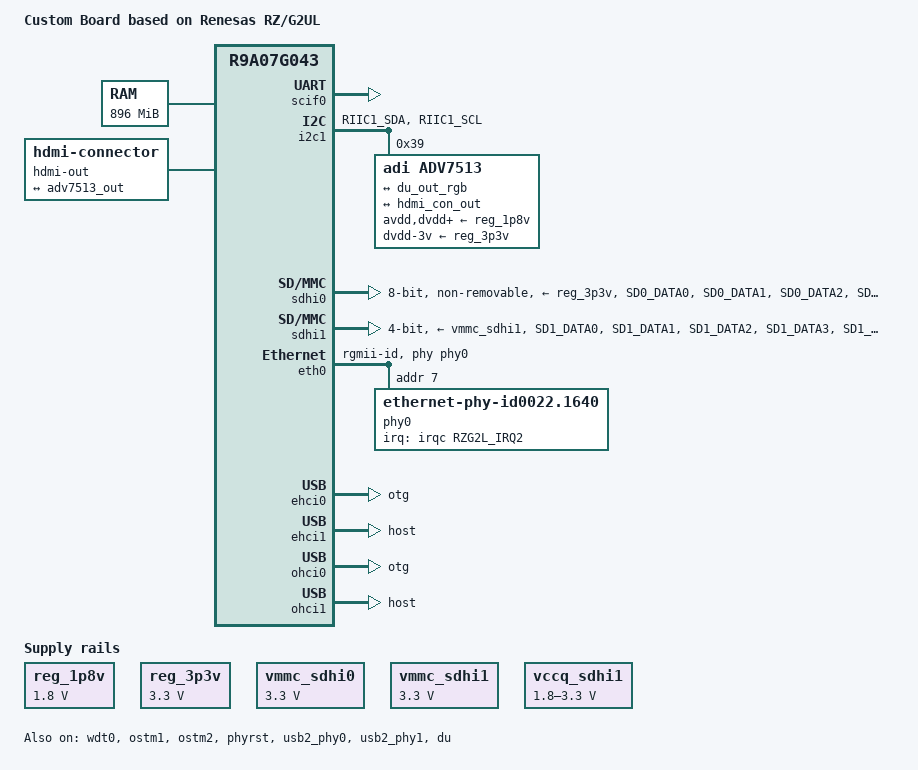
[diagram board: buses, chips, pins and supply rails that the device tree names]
/dts-v1/;

#include "r9a07g043u.dtsi"
#include <dt-bindings/gpio/gpio.h>
#include <dt-bindings/pinctrl/rzg2l-pinctrl.h>
#include <dt-bindings/interrupt-controller/arm-gic.h>
#include <dt-bindings/interrupt-controller/irqc-rzg2l.h>

/ {
	/* Please modify the 'model' and 'compatible' for your board. However, you must keep "renesas,r9a07g043" because some drivers reference this string */
	model = "Custom Board based on Renesas RZ/G2UL";
	compatible = "custom,rzg2lc-board", "renesas,r9a07g043u11", "renesas,r9a07g043";

	/* Aliases */
	aliases {
		serial0 = &scif0;  /* force SCIF0 to /dev/ttySC0 */
		ethernet0 = &eth0; /* Maps ethernet0 to primary Ethernet controller */
		mmc0 = &sdhi0;     /* eMMC, force SDHI0 as /dev/mmcblk0 */
		mmc1 = &sdhi1;     /* SD card, force SDHI1 as /dev/mmcblk1 */
		i2c1 = &i2c1;      /* Maps i2c1 to I2C1 controller */ 
	};

	/* Chosen Node for Console */
	chosen {
		bootargs = "ignore_loglevel";
		stdout-path = "serial0:115200n8";
	};

	/* Memory Node */
	memory@48000000 {
		device_type = "memory";
		/* first 128MB is reserved for secure area. */
		reg = <0x0 0x48000000 0x0 0x38000000>;
	};

	/* Reserved memory regions */
	reserved-memory {
		#address-cells = <2>;
		#size-cells = <2>;
		ranges;

		/* CMA for DMA allocations (cameras, display, USB, etc.) */
		global_cma: linux,cma@58000000 {
			compatible = "shared-dma-pool";
			linux,cma-default;
			reusable;
			reg = <0x0 0x58000000 0x0 0x10000000>;  /* 256MB CMA */
		};
	};

    /* HDMI connector description */
	hdmi-out {
		compatible = "hdmi-connector";
		type = "d";

		port {
			hdmi_con_out: endpoint {
				remote-endpoint = <&adv7513_out>;
			};
		};
	};

	/* Voltage Regulators */
	reg_1p8v: regulator-1p8v {
		compatible = "regulator-fixed";
		regulator-name = "fixed-1.8V";
		regulator-min-microvolt = <1800000>;
		regulator-max-microvolt = <1800000>;
		regulator-boot-on;
		regulator-always-on;
	};

	reg_3p3v: regulator-3p3v {
		compatible = "regulator-fixed";
		regulator-name = "fixed-3.3V";
		regulator-min-microvolt = <3300000>;
		regulator-max-microvolt = <3300000>;
		regulator-boot-on;
		regulator-always-on;
	};

	/* SDHI0 voltage regulators */
	vmmc_sdhi0: regulator-vcc-sdhi0 {
		compatible = "regulator-fixed";
		regulator-name = "SDHI0 Vmmc";
		regulator-min-microvolt = <3300000>;
		regulator-max-microvolt = <3300000>;
		regulator-boot-on;
		/* Optional: GPIO control for power switching */
		/* gpio = <&pinctrl RZG2L_GPIO(0, 3) GPIO_ACTIVE_HIGH>; */
		/* enable-active-high; */
	};

	/* SDHI1 voltage regulators */
	vmmc_sdhi1: regulator-vcc-sdhi1 {
		compatible = "regulator-fixed";
		regulator-name = "SDHI1 Vmmc";
		regulator-min-microvolt = <3300000>;
		regulator-max-microvolt = <3300000>;
	};

	vccq_sdhi1: regulator-vccq-sdhi1 {
		compatible = "regulator-gpio";
		regulator-name = "SDHI1 VccQ";
		regulator-min-microvolt = <1800000>;
		regulator-max-microvolt = <3300000>;
		gpios = <&pinctrl RZG2L_GPIO(6, 1) GPIO_ACTIVE_HIGH>;
		gpios-states = <1>;
		states = <3300000 1>, <1800000 0>;
	};
};

/* External crystal oscillator (24MHz typical for RZ/G2UL) */
&extal_clk {
	clock-frequency = <24000000>;
};

/* Watchdog Timer 0 */
&wdt0 {
	timeout-sec = <60>;
	status = "okay";
};

/* OS Timers */
&ostm1 {
	status = "okay";
};

&ostm2 {
	status = "okay";
};

/* Serial Console - SCIF0 */
&scif0 {
	pinctrl-0 = <&scif0_pins>;
	pinctrl-names = "default";
	status = "okay";
};

/* I2C Bus 1 - Peripheral I2C */
&i2c1 {
	pinctrl-0 = <&i2c1_pins>;
	pinctrl-names = "default";

	status = "okay";

	/* adv7513 HDMI transmitter configuration */
	adv7513: adv7513@39 {
		compatible = "adi,adv7513";
		reg = <0x39>;

		adi,input-depth = <8>;
		adi,input-colorspace = "rgb";
		adi,input-clock = "1x";

		avdd-supply = <&reg_1p8v>;
		dvdd-supply = <&reg_1p8v>;
		pvdd-supply = <&reg_1p8v>;
		dvdd-3v-supply = <&reg_3p3v>;
		bgvdd-supply = <&reg_1p8v>;

		ports {
			#address-cells = <1>;
			#size-cells = <0>;

			/* Input port (connected to parallel display ) */
			port@0 {
				reg = <0>;

				adv7513_in: endpoint {
					remote-endpoint = <&du_out_rgb>;
				};
			};

			/* Output port (connected to HDMI) */
			port@1 {
				reg = <1>;

				adv7513_out: endpoint {
					remote-endpoint = <&hdmi_con_out>;
				};
			};
		};
	};
};

/* SDHI0 - eMMC or SD Card */
&sdhi0 {
	pinctrl-0 = <&sdhi0_emmc_pins>;
	pinctrl-1 = <&sdhi0_emmc_pins>;
	pinctrl-names = "default", "state_uhs";

	vmmc-supply = <&reg_3p3v>;
	vqmmc-supply = <&reg_1p8v>;
	bus-width = <8>;
	mmc-hs200-1_8v;
	non-removable;
	fixed-emmc-driver-type = <1>;
	status = "okay";
};

/* SDHI1 - SD Card Slot */
&sdhi1 {
	pinctrl-0 = <&sdhi1_pins>;
	pinctrl-1 = <&sdhi1_pins_uhs>;
	pinctrl-names = "default", "state_uhs";

	vmmc-supply = <&vmmc_sdhi1>;
	vqmmc-supply = <&vccq_sdhi1>;
	bus-width = <4>;
	sd-uhs-sdr50;
	sd-uhs-sdr104;
	max-frequency = <125000000>;
	status = "okay";
};

/* Gigabit Ethernet 0 */
&eth0 {
	pinctrl-0 = <&eth0_pins>;
	pinctrl-names = "default";
	phy-handle = <&phy0>;
	phy-mode = "rgmii-id";
	status = "okay";

	phy0: ethernet-phy@7 {
		compatible = "ethernet-phy-id0022.1640",
			     "ethernet-phy-ieee802.3-c22";
		reg = <7>;
		interrupt-parent = <&irqc>;
		interrupts = <RZG2L_IRQ2 IRQ_TYPE_LEVEL_LOW>;
		rxc-skew-psec = <2400>;
		txc-skew-psec = <2400>;
		rxdv-skew-psec = <0>;
		txen-skew-psec = <0>;
		rxd0-skew-psec = <0>;
		rxd1-skew-psec = <0>;
		rxd2-skew-psec = <0>;
		rxd3-skew-psec = <0>;
		txd0-skew-psec = <0>;
		txd1-skew-psec = <0>;
		txd2-skew-psec = <0>;
		txd3-skew-psec = <0>;
	};
};

/* USB PHY Control */
&phyrst {
	status = "okay";
};

/* USB 2.0 Host/Device Port 0 */
&usb2_phy0 {
	pinctrl-0 = <&usb0_pins>;
	pinctrl-names = "default";
	vbus-supply = <&usb0_vbus_otg>;
	status = "okay";
};

/* USB 2.0 Host Port 1 */
&usb2_phy1 {
	pinctrl-0 = <&usb1_pins>;
	pinctrl-names = "default";
	status = "okay";
};

/* USB EHCI Host 0 */
&ehci0 {
	dr_mode = "otg";  /* Can be: host, peripheral, otg */
	status = "okay";
	memory-region = <&global_cma>;
};

/* USB EHCI Host 1 */
&ehci1 {
	dr_mode = "host";
	status = "okay";
	memory-region = <&global_cma>;
};

/* USB OHCI Host 0 */
&ohci0 {
	dr_mode = "otg";
	status = "okay";
	memory-region = <&global_cma>;
};

/* USB OHCI Host 1 */
&ohci1 {
	dr_mode = "host";
	status = "okay";
	memory-region = <&global_cma>;
};

/* USB High-Speed Module (Device mode) */
&hsusb {
	dr_mode = "otg";
	status = "disabled";  /* Enable if using USB device mode */
};

/* Display Unit (DU) */
&du {
	pinctrl-0 = <&du_pins>;
	pinctrl-names = "default";

	status = "okay";

	ports {
		port@0 {
			du_out_rgb: endpoint {
				remote-endpoint = <&adv7513_in>; /* Connected to ADV7513 input */
			};
		};
	};
};


/* Pinctrl configuration */
&pinctrl {
	scif0_pins: scif0 {
		pinmux = <RZG2L_PORT_PINMUX(6, 4, 6)>, /* TxD */
			 <RZG2L_PORT_PINMUX(6, 3, 6)>; /* RxD */
	};

	/* I2C1 */
	i2c1_pins: i2c1 {
		pins = "RIIC1_SDA", "RIIC1_SCL";
		input-enable;
	};

	/* Ethernet 0 */
	eth0_pins: eth0 {
		pinmux = <RZG2L_PORT_PINMUX(4, 5, 1)>, /* ET0_LINKSTA */
			 <RZG2L_PORT_PINMUX(4, 3, 1)>, /* ET0_MDC */
			 <RZG2L_PORT_PINMUX(4, 4, 1)>, /* ET0_MDIO */
			 <RZG2L_PORT_PINMUX(1, 0, 1)>, /* ET0_TXC */
			 <RZG2L_PORT_PINMUX(1, 1, 1)>, /* ET0_TX_CTL */
			 <RZG2L_PORT_PINMUX(1, 2, 1)>, /* ET0_TXD0 */
			 <RZG2L_PORT_PINMUX(1, 3, 1)>, /* ET0_TXD1 */
			 <RZG2L_PORT_PINMUX(1, 4, 1)>, /* ET0_TXD2 */
			 <RZG2L_PORT_PINMUX(2, 0, 1)>, /* ET0_TXD3 */
			 <RZG2L_PORT_PINMUX(3, 0, 1)>, /* ET0_RXC */
			 <RZG2L_PORT_PINMUX(3, 1, 1)>, /* ET0_RX_CTL */
			 <RZG2L_PORT_PINMUX(3, 2, 1)>, /* ET0_RXD0 */
			 <RZG2L_PORT_PINMUX(3, 3, 1)>, /* ET0_RXD1 */
			 <RZG2L_PORT_PINMUX(4, 0, 1)>, /* ET0_RXD2 */
			 <RZG2L_PORT_PINMUX(4, 1, 1)>, /* ET0_RXD3 */
			 <RZG2L_PORT_PINMUX(5, 1, 7)>; /* IRQ2 */
	};

	/* SDHI0 - eMMC 8-bit */
	sdhi0_emmc_pins: sd0emmc {
		sd0_emmc_data {
			pins = "SD0_DATA0", "SD0_DATA1", "SD0_DATA2", "SD0_DATA3",
			       "SD0_DATA4", "SD0_DATA5", "SD0_DATA6", "SD0_DATA7";
			power-source = <1800>;
		};

		sd0_emmc_ctrl {
			pins = "SD0_CLK", "SD0_CMD";
			power-source = <1800>;
		};

		sd0_emmc_rst {
			pins = "SD0_RST#";
			power-source = <1800>;
		};
	};

	/* SDHI1 - SD Card slot */
	sdhi1_pins: sd1 {
		sd1_data {
			pins = "SD1_DATA0", "SD1_DATA1", "SD1_DATA2", "SD1_DATA3";
			power-source = <3300>;
		};

		sd1_ctrl {
			pins = "SD1_CLK", "SD1_CMD";
			power-source = <3300>;
		};

		sd1_mux {
			pinmux = <RZG2L_PORT_PINMUX(0, 2, 1)>; /* SD1_CD */
		};
	};

	sdhi1_pins_uhs: sd1_uhs {
		sd1_data_uhs {
			pins = "SD1_DATA0", "SD1_DATA1", "SD1_DATA2", "SD1_DATA3";
			power-source = <1800>;
		};

		sd1_ctrl_uhs {
			pins = "SD1_CLK", "SD1_CMD";
			power-source = <1800>;
		};

		sd1_mux_uhs {
			pinmux = <RZG2L_PORT_PINMUX(0, 2, 1)>; /* SD1_CD */
		};
	};
	
	du_pins: du {
		data {
			pinmux = <RZG2L_PORT_PINMUX(11, 2, 6)>,
				 <RZG2L_PORT_PINMUX(13, 1, 6)>,
				 <RZG2L_PORT_PINMUX(13, 0, 6)>,
				 <RZG2L_PORT_PINMUX(13, 4, 6)>,
				 <RZG2L_PORT_PINMUX(13, 3, 6)>,
				 <RZG2L_PORT_PINMUX(12, 1, 6)>,
				 <RZG2L_PORT_PINMUX(13, 2, 6)>,
				 <RZG2L_PORT_PINMUX(14, 0, 6)>,
				 <RZG2L_PORT_PINMUX(14, 2, 6)>,
				 <RZG2L_PORT_PINMUX(14, 1, 6)>,
				 <RZG2L_PORT_PINMUX(16, 0, 6)>,
				 <RZG2L_PORT_PINMUX(15, 0, 6)>,
				 <RZG2L_PORT_PINMUX(16, 1, 6)>,
				 <RZG2L_PORT_PINMUX(15, 1, 6)>,
				 <RZG2L_PORT_PINMUX(15, 3, 6)>,
				 <RZG2L_PORT_PINMUX(18, 0, 6)>,
				 <RZG2L_PORT_PINMUX(15, 2, 6)>,
				 <RZG2L_PORT_PINMUX(17, 0, 6)>,
				 <RZG2L_PORT_PINMUX(17, 2, 6)>,
				 <RZG2L_PORT_PINMUX(17, 1, 6)>,
				 <RZG2L_PORT_PINMUX(18, 1, 6)>,
				 <RZG2L_PORT_PINMUX(18, 2, 6)>,
				 <RZG2L_PORT_PINMUX(17, 3, 6)>,
				 <RZG2L_PORT_PINMUX(18, 3, 6)>;
			drive-strength = <2>;
		};

		sync {
			pinmux = <RZG2L_PORT_PINMUX(11, 0, 6)>, /* HSYNC */
				 <RZG2L_PORT_PINMUX(12, 0, 6)>; /* VSYNC */
			drive-strength = <2>;
		};

		de {
			pinmux = <RZG2L_PORT_PINMUX(11, 1, 6)>; /* DE */
			drive-strength = <2>;
		};

		clk {
			pinmux = <RZG2L_PORT_PINMUX(11, 3, 6)>; /* CLK */
		};
	};

	/* USB0 pins */
	usb0_pins: usb0 {
		pinmux = <RZG2L_PORT_PINMUX(4, 0, 1)>,   /* VBUS */
		         <RZG2L_PORT_PINMUX(5, 0, 1)>,   /* OVC */
		         <RZG2L_PORT_PINMUX(5, 1, 1)>;   /* OTG_ID */
	};

	/* USB1 pins */
	usb1_pins: usb1 {
		pinmux = <RZG2L_PORT_PINMUX(5, 4, 5)>, /* OVC */
			 <RZG2L_PORT_PINMUX(6, 0, 1)>; /* VBUS */
	};

};
